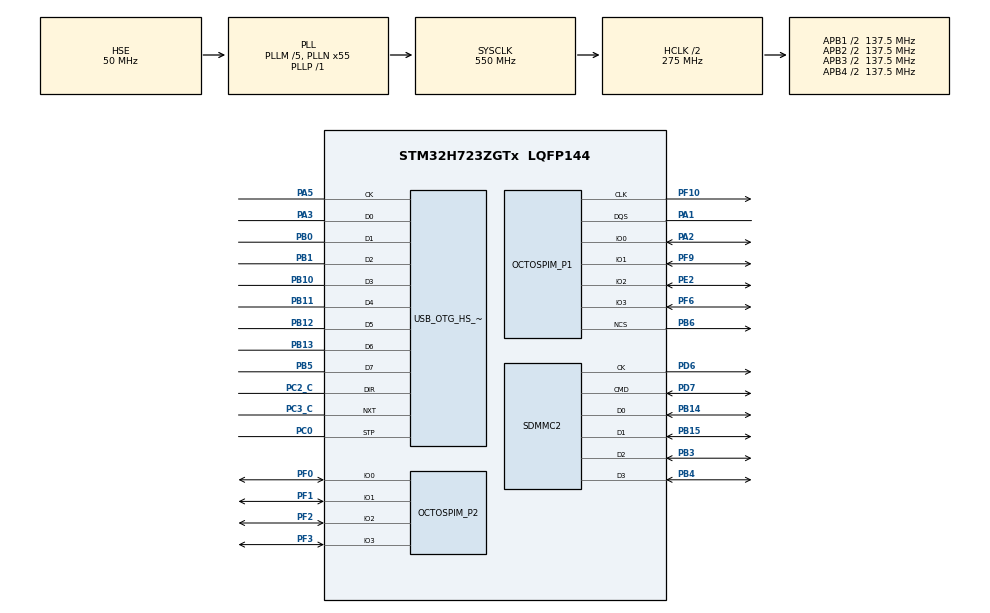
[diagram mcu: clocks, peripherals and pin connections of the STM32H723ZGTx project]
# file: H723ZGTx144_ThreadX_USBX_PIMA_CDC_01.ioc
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CORTEX_M7.AccessPermission_S-Cortex_Memory_Protection_Unit_Region1_Settings_S=MPU_REGION_FULL_ACCESS
CORTEX_M7.AccessPermission_S-Cortex_Memory_Protection_Unit_Region2_Settings_S=MPU_REGION_FULL_ACCESS
CORTEX_M7.AccessPermission_S-Cortex_Memory_Protection_Unit_Region3_Settings_S=MPU_REGION_FULL_ACCESS
CORTEX_M7.AccessPermission_S-Cortex_Memory_Protection_Unit_Region4_Settings_S=MPU_REGION_FULL_ACCESS
CORTEX_M7.AccessPermission_S-Cortex_Memory_Protection_Unit_Region5_Settings_S=MPU_REGION_FULL_ACCESS
CORTEX_M7.AccessPermission_Spec=MPU_REGION_FULL_ACCESS
CORTEX_M7.BaseAddress_S-Cortex_Memory_Protection_Unit_Region1_Settings_S=0x6000000
CORTEX_M7.BaseAddress_S-Cortex_Memory_Protection_Unit_Region2_Settings_S=0x30000000
CORTEX_M7.BaseAddress_S-Cortex_Memory_Protection_Unit_Region3_Settings_S=0x30004000
CORTEX_M7.BaseAddress_S-Cortex_Memory_Protection_Unit_Region4_Settings_S=0x90000000
CORTEX_M7.BaseAddress_S-Cortex_Memory_Protection_Unit_Region5_Settings_S=0x24010000
CORTEX_M7.BaseAddress_Spec=0x24000000
CORTEX_M7.CPU_DCache=Enabled
CORTEX_M7.CPU_ICache=Enabled
CORTEX_M7.DisableExec_S-Cortex_Memory_Protection_Unit_Region3_Settings_S=MPU_INSTRUCTION_ACCESS_ENABLE
CORTEX_M7.DisableExec_Spec=MPU_INSTRUCTION_ACCESS_ENABLE
CORTEX_M7.Enable_S-Cortex_Memory_Protection_Unit_Region1_Settings_S=MPU_REGION_ENABLE
CORTEX_M7.Enable_S-Cortex_Memory_Protection_Unit_Region2_Settings_S=MPU_REGION_ENABLE
CORTEX_M7.Enable_S-Cortex_Memory_Protection_Unit_Region3_Settings_S=MPU_REGION_ENABLE
CORTEX_M7.Enable_S-Cortex_Memory_Protection_Unit_Region4_Settings_S=MPU_REGION_ENABLE
CORTEX_M7.Enable_S-Cortex_Memory_Protection_Unit_Region5_Settings_S=MPU_REGION_ENABLE
CORTEX_M7.IsBufferable_S-Cortex_Memory_Protection_Unit_Region1_Settings_S=MPU_ACCESS_BUFFERABLE
CORTEX_M7.IsBufferable_S-Cortex_Memory_Protection_Unit_Region2_Settings_S=MPU_ACCESS_NOT_BUFFERABLE
CORTEX_M7.IsBufferable_S-Cortex_Memory_Protection_Unit_Region3_Settings_S=MPU_ACCESS_NOT_BUFFERABLE
CORTEX_M7.IsBufferable_S-Cortex_Memory_Protection_Unit_Region4_Settings_S=MPU_ACCESS_NOT_BUFFERABLE
CORTEX_M7.IsBufferable_Spec=MPU_ACCESS_BUFFERABLE
CORTEX_M7.IsCacheable_S-Cortex_Memory_Protection_Unit_Region2_Settings_S=MPU_ACCESS_NOT_CACHEABLE
CORTEX_M7.IsCacheable_S-Cortex_Memory_Protection_Unit_Region3_Settings_S=MPU_ACCESS_NOT_CACHEABLE
CORTEX_M7.IsCacheable_S-Cortex_Memory_Protection_Unit_Region4_Settings_S=MPU_ACCESS_NOT_CACHEABLE
CORTEX_M7.IsCacheable_Spec=MPU_ACCESS_CACHEABLE
CORTEX_M7.IsShareable_S-Cortex_Memory_Protection_Unit_Region4_Settings_S=MPU_ACCESS_NOT_SHAREABLE
CORTEX_M7.IsShareable_S-Cortex_Memory_Protection_Unit_Region5_Settings_S=MPU_ACCESS_NOT_SHAREABLE
CORTEX_M7.IsShareable_Spec=MPU_ACCESS_NOT_SHAREABLE
CORTEX_M7.Size_S-Cortex_Memory_Protection_Unit_Region1_Settings_S=MPU_REGION_SIZE_64KB
CORTEX_M7.Size_S-Cortex_Memory_Protection_Unit_Region2_Settings_S=MPU_REGION_SIZE_16KB
CORTEX_M7.Size_S-Cortex_Memory_Protection_Unit_Region3_Settings_S=MPU_REGION_SIZE_16KB
CORTEX_M7.Size_S-Cortex_Memory_Protection_Unit_Region4_Settings_S=MPU_REGION_SIZE_64MB
CORTEX_M7.Size_S-Cortex_Memory_Protection_Unit_Region5_Settings_S=MPU_REGION_SIZE_256KB
CORTEX_M7.Size_Spec=MPU_REGION_SIZE_64KB
CORTEX_M7.SubRegionDisable_S-Cortex_Memory_Protection_Unit_Region2_Settings_S=0x0
CORTEX_M7.SubRegionDisable_Spec=0
CORTEX_M7.TypeExtField_S-Cortex_Memory_Protection_Unit_Region2_Settings_S=MPU_TEX_LEVEL1
CORTEX_M7.TypeExtField_S-Cortex_Memory_Protection_Unit_Region3_Settings_S=MPU_TEX_LEVEL1
CORTEX_M7.TypeExtField_S-Cortex_Memory_Protection_Unit_Region4_Settings_S=MPU_TEX_LEVEL1
CORTEX_M7.TypeExtField_S-Cortex_Memory_Protection_Unit_Region5_Settings_S=MPU_TEX_LEVEL1
CORTEX_M7.TypeExtField_Spec=MPU_TEX_LEVEL1
CORTEX_M7.default_mode_Activation=1
Mcu.Family=STM32H7
Mcu.Name=STM32H723ZGTx
Mcu.Package=LQFP144
NVIC.OCTOSPI1_IRQn=true\:0\:0\:true\:false\:true\:false\:true\:true\:true
NVIC.OTG_HS_IRQn=true\:2\:0\:true\:false\:true\:false\:true\:true\:true
NVIC.PriorityGroup=NVIC_PRIORITYGROUP_4
NVIC.SDMMC2_IRQn=true\:5\:0\:true\:false\:true\:false\:true\:true\:true
NVIC.TIM4_IRQn=true\:15\:0\:true\:false\:true\:false\:false\:true\:true
NVIC.TimeBase=TIM4_IRQn
NVIC.TimeBaseIP=TIM4
OCTOSPI1.ChipSelectBoundary=11
OCTOSPI1.ChipSelectHighTime=2
OCTOSPI1.DelayBlockBypass=HAL_OSPI_DELAY_BLOCK_USED
OCTOSPI1.DelayHoldQuarterCycle=HAL_OSPI_DHQC_ENABLE
OCTOSPI1.DeviceSize=26
OCTOSPI1.FifoThreshold=4
OCTOSPI1.MemoryType=HAL_OSPI_MEMTYPE_APMEMORY
OCTOSPI1.Refresh=202
PA1.Mode=OCTOSPI1_Port1_DQS
PA1.Signal=OCTOSPIM_P1_DQS
PA13(JTMS/SWDIO).Mode=Serial_Wire
PA13(JTMS/SWDIO).Signal=DEBUG_JTMS-SWDIO
PA14(JTCK/SWCLK).Mode=Serial_Wire
PA14(JTCK/SWCLK).Signal=DEBUG_JTCK-SWCLK
PA2.Mode=OCTOSPI1_IOL_Port1L
PA2.Signal=OCTOSPIM_P1_IO0
PA3.Mode=Device_HS
PA3.Signal=USB_OTG_HS_ULPI_D0
PA5.Mode=Device_HS
PA5.Signal=USB_OTG_HS_ULPI_CK
PB0.Mode=Device_HS
PB0.Signal=USB_OTG_HS_ULPI_D1
PB1.Mode=Device_HS
PB1.Signal=USB_OTG_HS_ULPI_D2
PB10.Mode=Device_HS
PB10.Signal=USB_OTG_HS_ULPI_D3
PB11.Mode=Device_HS
PB11.Signal=USB_OTG_HS_ULPI_D4
PB12.Mode=Device_HS
PB12.Signal=USB_OTG_HS_ULPI_D5
PB13.Mode=Device_HS
PB13.Signal=USB_OTG_HS_ULPI_D6
PB14.Mode=SD_4_bits_Wide_bus
PB14.Signal=SDMMC2_D0
PB15.Mode=SD_4_bits_Wide_bus
PB15.Signal=SDMMC2_D1
PB3(JTDO/TRACESWO).Mode=SD_4_bits_Wide_bus
PB3(JTDO/TRACESWO).Signal=SDMMC2_D2
PB4(NJTRST).Mode=SD_4_bits_Wide_bus
PB4(NJTRST).Signal=SDMMC2_D3
PB5.Mode=Device_HS
PB5.Signal=USB_OTG_HS_ULPI_D7
PB6.Mode=OCTOSPI1_Port1_NCS
PB6.Signal=OCTOSPIM_P1_NCS
PC0.Mode=Device_HS
PC0.Signal=USB_OTG_HS_ULPI_STP
PC2_C.Mode=Device_HS
PC2_C.Signal=USB_OTG_HS_ULPI_DIR
PC3_C.Mode=Device_HS
PC3_C.Signal=USB_OTG_HS_ULPI_NXT
PD6.Mode=SD_4_bits_Wide_bus
PD6.Signal=SDMMC2_CK
PD7.Mode=SD_4_bits_Wide_bus
PD7.Signal=SDMMC2_CMD
PE2.Mode=OCTOSPI1_IOL_Port1L
PE2.Signal=OCTOSPIM_P1_IO2
PF0.Mode=OCTOSPI1_IOH_Port2L
PF0.Signal=OCTOSPIM_P2_IO0
PF1.Mode=OCTOSPI1_IOH_Port2L
PF1.Signal=OCTOSPIM_P2_IO1
PF10.Mode=O1_P1_CLK
PF10.Signal=OCTOSPIM_P1_CLK
PF2.Mode=OCTOSPI1_IOH_Port2L
PF2.Signal=OCTOSPIM_P2_IO2
PF3.Mode=OCTOSPI1_IOH_Port2L
PF3.Signal=OCTOSPIM_P2_IO3
PF6.Mode=OCTOSPI1_IOL_Port1L
PF6.Signal=OCTOSPIM_P1_IO3
PF9.Mode=OCTOSPI1_IOL_Port1L
PF9.Signal=OCTOSPIM_P1_IO1
PH0-OSC_IN.Mode=HSE-External-Clock-Source
PH0-OSC_IN.Signal=RCC_OSC_IN
ProjectManager.HeapSize=0x1000
ProjectManager.StackSize=0x4000
ProjectManager.TargetToolchain=STM32CubeIDE
RCC.ADCFreq_Value=170000000
RCC.APB1Freq_Value=137500000
RCC.APB2Freq_Value=137500000
RCC.APB3Freq_Value=137500000
RCC.APB4Freq_Value=137500000
RCC.CortexFreq_Value=550000000
RCC.D1PPRE=RCC_APB3_DIV2
RCC.D2PPRE1=RCC_APB1_DIV2
RCC.D2PPRE2=RCC_APB2_DIV2
RCC.D3PPRE=RCC_APB4_DIV2
RCC.DIVM1=5
RCC.DIVM2=5
RCC.DIVM3=25
RCC.DIVN1=55
RCC.DIVN2=34
RCC.DIVN3=96
RCC.DIVP1=1
RCC.DIVQ1=11
RCC.DIVQ3=4
RCC.DIVR2=4
RCC.HCLKFreq_Value=275000000
RCC.HPRE=RCC_HCLK_DIV2
RCC.HSE_VALUE=50000000
RCC.PLLSourceVirtual=RCC_PLLSOURCE_HSE
RCC.QSPICLockSelection=RCC_OSPICLKSOURCE_PLL2
RCC.RCC_TIM_PRescaler_Selection=RCC_TIMPRES_DESACTIVATED
RCC.SYSCLKFreq_VALUE=550000000
RCC.SYSCLKSource=RCC_SYSCLKSOURCE_PLLCLK
RCC.USBCLockSelection=RCC_USBCLKSOURCE_PLL3
RCC.USBFreq_Value=48000000
SDMMC2.ClockDiv=0
SDMMC2.HardwareFlowControl=SDMMC_HARDWARE_FLOW_CONTROL_ENABLE
STMicroelectronics.X-CUBE-AZRTOS-H7.3.4.0.ENABLE_CACHE_MAINTENANCE=true
STMicroelectronics.X-CUBE-AZRTOS-H7.3.4.0.FILEX_APPLICATION_THREAD_STACK_SIZE=4096
STMicroelectronics.X-CUBE-AZRTOS-H7.3.4.0.FX_APP_MEM_POOL_SIZE=1024*10
STMicroelectronics.X-CUBE-AZRTOS-H7.3.4.0.FX_DISABLE_ERROR_CHECKING=1
STMicroelectronics.X-CUBE-AZRTOS-H7.3.4.0.FX_DRIVER_SD_INIT=0
STMicroelectronics.X-CUBE-AZRTOS-H7.3.4.0.FX_ENABLE_EXFAT=1
STMicroelectronics.X-CUBE-AZRTOS-H7.3.4.0.FX_FAT_MAP_SIZE=1024
STMicroelectronics.X-CUBE-AZRTOS-H7.3.4.0.FX_SD_GLUE_FUNCTION_IMPLEMENTATION=HAL_DMA_API
STMicroelectronics.X-CUBE-AZRTOS-H7.3.4.0.FileXCcFileOoSystemJjFileXJjCore=true
STMicroelectronics.X-CUBE-AZRTOS-H7.3.4.0.InterfacesCcFileOoSystemJjFileXOoSDOointerface=true
STMicroelectronics.X-CUBE-AZRTOS-H7.3.4.0.MAX_FAT_CACHE_NB_BIT=10
STMicroelectronics.X-CUBE-AZRTOS-H7.3.4.0.MAX_POWER_IN_MILLI_AMPER=500
STMicroelectronics.X-CUBE-AZRTOS-H7.3.4.0.MAX_SECTOR_CACHE_NB_BIT=10
STMicroelectronics.X-CUBE-AZRTOS-H7.3.4.0.SD_INSTANCE=1
STMicroelectronics.X-CUBE-AZRTOS-H7.3.4.0.TX_APP_CREATION=1
STMicroelectronics.X-CUBE-AZRTOS-H7.3.4.0.TX_APP_GENERATE_INIT_CODE=true
STMicroelectronics.X-CUBE-AZRTOS-H7.3.4.0.TX_APP_MEM_POOL_SIZE=1024*10
STMicroelectronics.X-CUBE-AZRTOS-H7.3.4.0.TX_APP_STACK_SIZE=4096
STMicroelectronics.X-CUBE-AZRTOS-H7.3.4.0.TX_TIMER_THREAD_STACK_SIZE=2048
STMicroelectronics.X-CUBE-AZRTOS-H7.3.4.0.TX_TIMER_TICKS_PER_SECOND=1000
STMicroelectronics.X-CUBE-AZRTOS-H7.3.4.0.ThreadXCcRTOSJjThreadXJjCore=true
STMicroelectronics.X-CUBE-AZRTOS-H7.3.4.0.USBD_CDCACM_EPINCMD_ADDR=1
STMicroelectronics.X-CUBE-AZRTOS-H7.3.4.0.USBD_CDCACM_EPINCMD_FS_MPS=8
STMicroelectronics.X-CUBE-AZRTOS-H7.3.4.0.USBD_CDCACM_EPINCMD_HS_MPS=8
STMicroelectronics.X-CUBE-AZRTOS-H7.3.4.0.USBD_CDCACM_EPIN_ADDR=2
STMicroelectronics.X-CUBE-AZRTOS-H7.3.4.0.USBD_CDCACM_EPOUT_ADDR=2
STMicroelectronics.X-CUBE-AZRTOS-H7.3.4.0.USBD_PIMA_EP_IN_ADDR=3
STMicroelectronics.X-CUBE-AZRTOS-H7.3.4.0.USBD_PIMA_EP_IN_CMD_ADDR=4
STMicroelectronics.X-CUBE-AZRTOS-H7.3.4.0.USBD_PIMA_EP_OUT_ADDR=3
STMicroelectronics.X-CUBE-AZRTOS-H7.3.4.0.USBXCcUSBJjUSBXJjCoreSystem=true
STMicroelectronics.X-CUBE-AZRTOS-H7.3.4.0.USBXCcUSBJjUSBXJjUXOoDeviceOoClassOoCDCOoACM=true
STMicroelectronics.X-CUBE-AZRTOS-H7.3.4.0.USBXCcUSBJjUSBXJjUXOoDeviceOoClassOoPIMA=true
STMicroelectronics.X-CUBE-AZRTOS-H7.3.4.0.USBXCcUSBJjUSBXJjUXOoDeviceOoControllers=true
STMicroelectronics.X-CUBE-AZRTOS-H7.3.4.0.USBXCcUSBJjUSBXJjUXOoDeviceOoCoreStack=true
STMicroelectronics.X-CUBE-AZRTOS-H7.3.4.0.USBX_DEVICE_APP_THREAD_Size=4096
STMicroelectronics.X-CUBE-AZRTOS-H7.3.4.0.USBX_DEVICE_SYS_SIZE=1024*50
STMicroelectronics.X-CUBE-AZRTOS-H7.3.4.0.UX_ALIGN_MIN=UX_ALIGN_32
STMicroelectronics.X-CUBE-AZRTOS-H7.3.4.0.UX_DEBUG_LOG_SIZE=4096
STMicroelectronics.X-CUBE-AZRTOS-H7.3.4.0.UX_DEVICE_APP_MEM_POOL_SIZE=1024*100
STMicroelectronics.X-CUBE-AZRTOS-H7.3.4.0.UX_DEVICE_CLASS_CDC_ACM_TRANSMISSION_DISABLE=0
STMicroelectronics.X-CUBE-AZRTOS-H7.3.4.0.UX_MAX_SLAVE_CLASS_DRIVER=2
STMicroelectronics.X-CUBE-AZRTOS-H7.3.4.0.UX_PERIODIC_RATE=1000
STMicroelectronics.X-CUBE-AZRTOS-H7.3.4.0.UX_SLAVE_REQUEST_DATA_MAX_LENGTH=4096
STMicroelectronics.X-CUBE-AZRTOS-H7.3.4.0.UX_THREAD_STACK_SIZE=8192
STMicroelectronics.X-CUBE-AZRTOS-H7.3.4.0_IsAnAzureRtosMw=true
TIM7.AutoReloadPreload=TIM_AUTORELOAD_PRELOAD_ENABLE
TIM7.Period=50000-1
TIM7.Prescaler=135-1
USB_OTG_HS.VirtualMode-Device_HS=Device_HS
USB_OTG_HS.dma_enable-Device_HS=ENABLE
VP_MEMORYMAP_VS_MEMORYMAP.Mode=CurAppReg
VP_OCTOSPI1_VS_octo.Mode=octo_mode
VP_STMicroelectronics.X-CUBE-AZRTOS-H7_VS_FileOoSystemJjFileX_6.4.0_3.4.0.Mode=FileOoSystemJjFileX
VP_STMicroelectronics.X-CUBE-AZRTOS-H7_VS_FileOoSystemJjInterfaces_3.4.0_3.4.0.Mode=FileOoSystemJjInterfaces
VP_STMicroelectronics.X-CUBE-AZRTOS-H7_VS_RTOSJjThreadX_6.4.0_3.4.0.Mode=RTOSJjThreadX
VP_STMicroelectronics.X-CUBE-AZRTOS-H7_VS_USBJjUSBX_6.4.0_3.4.0.Mode=USBJjUSBX
VP_SYS_VS_tim4.Mode=TIM4
VP_TIM3_VS_ClockSourceINT.Mode=Internal
VP_TIM7_VS_ClockSourceINT.Mode=Enable_Timer
board=custom

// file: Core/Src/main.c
/* USER CODE BEGIN Header */
/**
  ******************************************************************************
  * @file           : main.c
  * @brief          : Main program body
  ******************************************************************************
  * @attention
  *
  * Copyright (c) 2025 STMicroelectronics.
  * All rights reserved.
  *
  * This software is licensed under terms that can be found in the LICENSE file
  * in the root directory of this software component.
  * If no LICENSE file comes with this software, it is provided AS-IS.
  *
  ******************************************************************************
  */
/* USER CODE END Header */
#include "app_threadx.h"
#include "main.h"
#include "octospi.h"
#include "sdmmc.h"
#include "tim.h"
#include "gpio.h"

/* USER CODE BEGIN Includes */
#include "aps512xx.h"
#include "dynamic_ram.h"
/* USER CODE END Includes */

/* USER CODE BEGIN PV */
__attribute__((section (".psram_nold"))) uint8_t OSPI_Array[1024];
uint8_t aTxBuffer[] = "& OCTOSPI/Quad-spi PSRAM Memory-mapped base on H723ZGTx144 v1.0$";

HAL_SD_CardInfoTypeDef                     USBD_SD_CardInfo;

// DTCM 前 0x400 空间用于存放从 FLASH 拷贝的中断向量表副本
__attribute__((section(".dtcmvtor_nold"), aligned(4))) uint8_t dtcm_isr_vector[1024];
/* USER CODE END PV */

void SystemClock_Config(void);
static void MPU_Config(void);
/* USER CODE BEGIN PFP */
static void Configure_APMemory(void);
/* USER CODE END PFP */

int main(void)
{

  /* USER CODE BEGIN 1 */
  UINT status;
  /* Operation interrupt vector table begin ----------------------------------*/
//#define INTERNAL_FLASH_BOOTLOADER_JUMP_TO_QSPI_FLASH_APP

#if defined(INTERNAL_FLASH_BOOTLOADER_JUMP_TO_QSPI_FLASH_APP)
	/*将当前内部闪存中使用的中断向量表更改为外部 QSPI 闪存中的中断向量表 */
	SCB->VTOR = (uint32_t *)QSPI_BASE;
#endif

#define COPY_VECTORTABLE_TO_DTCM

#if defined(COPY_VECTORTABLE_TO_DTCM)
#if defined(INTERNAL_FLASH_BOOTLOADER_JUMP_TO_QSPI_FLASH_APP)
	uint32_t *SouceAddr = (uint32_t *)QSPI_BASE;
#else
	uint32_t *SouceAddr = (uint32_t *)FLASH_BANK1_BASE;
#endif
	uint32_t *DestAddr = (uint32_t *)dtcm_isr_vector;

	/**
	 * memcpy 拷贝大小 0x400，即1KB，因为通过构建分析器查看 .isr_vector 大小为 716B，留有一定余量
	 * 此操作需要在链接文件中将 DTCM 从 0x200000000 偏移 1KB 开始 0x2000400;
	 */
	memcpy(DestAddr, SouceAddr, 0x400);

	/** 将当前中断向量表设置为从FLASH复制到DITCM中的副本 */
	SCB->VTOR = D1_DTCMRAM_BASE;
#endif

	__IO uint8_t *mem_addr;
	uint32_t address = 0;
	uint16_t index1;/*index1 counter of bytes used when reading/
	writing 256 bytes buffer */
	uint16_t index2;/*index2 counter of 256 bytes buffer used when reading/
	writing the 1Mbytes extended buffer */
  /* Operation interrupt vector table end ------------------------------------*/
  /* USER CODE END 1 */

  /* MPU Configuration--------------------------------------------------------*/
  MPU_Config();

  /* Enable the CPU Cache */

  /* Enable I-Cache---------------------------------------------------------*/
  SCB_EnableICache();

  /* Enable D-Cache---------------------------------------------------------*/
  SCB_EnableDCache();

  /* MCU Configuration--------------------------------------------------------*/

  /* Reset of all peripherals, Initializes the Flash interface and the Systick. */
  HAL_Init();

  /* Configure the system clock */
  SystemClock_Config();

  /* Initialize all configured peripherals */
  MX_GPIO_Init();
  MX_TIM3_Init();
  MX_TIM7_Init();
  MX_OCTOSPI1_Init();
  MX_SDMMC2_SD_Init();
  /* USER CODE BEGIN 2 */

  Configure_APMemory();

	if (APS512XX_EnableMemoryMappedMode(&hospi1, 8, 4, 0U) != HAL_OK) // 线性突发模式，执行跨边界，解决2K后地址回卷（Wrap）
	//	if (APS512XX_EnableMemoryMappedMode(&hospi1, 8, 4, APS512XX_WRITE_CMD) != HAL_OK)
	{
		_Error_Handler(__FILE__, __LINE__);
	}
	// H723ZGTx144：测试：OCTOSPI_CLK=90MHz DTR MODE 1MB 误码率 0，若提高到100MHz误码率飙升
	int led = 0;
    uint64_t cnt_charW = 0;
	/*Writing 1Mbyte (256Byte BUFFERSIZE x 4096 times) */
	mem_addr = (__IO uint8_t *)(OCTOSPI1_BASE + address);
	for (index2 = 0; index2 < EXTENDEDBUFFERSIZE/BUFFERSIZE; index2++) {
		for (index1 = 0; index1 < BUFFERSIZE; index1++) {
			*mem_addr = aTxBuffer[index1];
			mem_addr++;
			cnt_charW++;
		}
	}

	/*Writing 1Mbyte (256Byte BUFFERSIZE x 4096 times) */
	uint64_t cnt_charR = 0;
    mem_addr = (__IO uint8_t *)(OCTOSPI1_BASE + address);
    for (index2 = 0; index2 < EXTENDEDBUFFERSIZE/BUFFERSIZE; index2++) {
		for (index1 = 0; index1 < BUFFERSIZE; index1++) {
			if (*mem_addr != aTxBuffer[index1]) {
				led++;
			}
			mem_addr++;
			cnt_charR++;
		}
    }
	uint8_t* p = OSPI_Array;
	p++;
	p--;

  /* Check if SD card is present */
  //if(HAL_GPIO_ReadPin(GPIOG, GPIO_PIN_12) == GPIO_PIN_SET) { Error_Handler(); }
  /* Get SD card info 存到 hsd2 里
   * 供后续 USBD_STORAGE_GetMediaLastLba() 和 USBD_STORAGE_GetMediaBlocklength() 获取信息
   */
  status = HAL_SD_GetCardInfo(&hsd2, &USBD_SD_CardInfo);

  if (status != HAL_OK)
  {
    Error_Handler();
  }

  /* USER CODE END 2 */

  MX_ThreadX_Init();

  /* We should never get here as control is now taken by the scheduler */

  /* Infinite loop */
  while (1)
  {

  }
}

void SystemClock_Config(void)
{
  RCC_OscInitTypeDef RCC_OscInitStruct = {0};
  RCC_ClkInitTypeDef RCC_ClkInitStruct = {0};

  /** Supply configuration update enable
  */
  HAL_PWREx_ConfigSupply(PWR_LDO_SUPPLY);

  /** Configure the main internal regulator output voltage
  */
  __HAL_PWR_VOLTAGESCALING_CONFIG(PWR_REGULATOR_VOLTAGE_SCALE0);

  while(!__HAL_PWR_GET_FLAG(PWR_FLAG_VOSRDY)) {}

  /** Initializes the RCC Oscillators according to the specified parameters
  * in the RCC_OscInitTypeDef structure.
  */
  RCC_OscInitStruct.OscillatorType = RCC_OSCILLATORTYPE_HSE;
  RCC_OscInitStruct.HSEState = RCC_HSE_BYPASS;
  RCC_OscInitStruct.PLL.PLLState = RCC_PLL_ON;
  RCC_OscInitStruct.PLL.PLLSource = RCC_PLLSOURCE_HSE;
  RCC_OscInitStruct.PLL.PLLM = 5;
  RCC_OscInitStruct.PLL.PLLN = 55;
  RCC_OscInitStruct.PLL.PLLP = 1;
  RCC_OscInitStruct.PLL.PLLQ = 11;
  RCC_OscInitStruct.PLL.PLLR = 2;
  RCC_OscInitStruct.PLL.PLLRGE = RCC_PLL1VCIRANGE_3;
  RCC_OscInitStruct.PLL.PLLVCOSEL = RCC_PLL1VCOWIDE;
  RCC_OscInitStruct.PLL.PLLFRACN = 0;
  if (HAL_RCC_OscConfig(&RCC_OscInitStruct) != HAL_OK)
  {
    Error_Handler();
  }

  /** Initializes the CPU, AHB and APB buses clocks
  */
  RCC_ClkInitStruct.ClockType = RCC_CLOCKTYPE_HCLK|RCC_CLOCKTYPE_SYSCLK
                              |RCC_CLOCKTYPE_PCLK1|RCC_CLOCKTYPE_PCLK2
                              |RCC_CLOCKTYPE_D3PCLK1|RCC_CLOCKTYPE_D1PCLK1;
  RCC_ClkInitStruct.SYSCLKSource = RCC_SYSCLKSOURCE_PLLCLK;
  RCC_ClkInitStruct.SYSCLKDivider = RCC_SYSCLK_DIV1;
  RCC_ClkInitStruct.AHBCLKDivider = RCC_HCLK_DIV2;
  RCC_ClkInitStruct.APB3CLKDivider = RCC_APB3_DIV2;
  RCC_ClkInitStruct.APB1CLKDivider = RCC_APB1_DIV2;
  RCC_ClkInitStruct.APB2CLKDivider = RCC_APB2_DIV2;
  RCC_ClkInitStruct.APB4CLKDivider = RCC_APB4_DIV2;

  if (HAL_RCC_ClockConfig(&RCC_ClkInitStruct, FLASH_LATENCY_3) != HAL_OK)
  {
    Error_Handler();
  }
}

/* USER CODE BEGIN 4 */
void _Error_Handler(const char * file, uint32_t line)
{
  /* USER CODE BEGIN Error_Handler_Debug */
  /* User can add his own implementation to report the HAL error return state */
  __disable_irq();
  while (1)
  {
  }
  /* USER CODE END Error_Handler_Debug */
}

/**
* @brief  Switch from Octal Mode to Hexa Mode on the memory
* @param  None
* @retval None
*/
uint8_t aps_ID[2] = {0, 0};
static void Configure_APMemory(void)
{
	/* MR0 register for read and write
	                                     MR8[7:0] = 0x24  =  B00100100
			   N/A                       MR0[7:6] = 00  --> constraint value
			   Read Latency Type         MR0[5]   = 1   --> LT               : Fixed ---> FL Codes
			   Read Latency Code         MR0[4:2] = 001 --> FL Codes (MR0[5]=1) Latency (LCx2) = 8
			   Drive Strength Codes      MR0[1:0] = 00  --> Drive StrengthFull  (25Ω default)
	*/
	uint8_t regW_MR0[2] = {0x24, 0x8D}; //!< To configure AP memory Latency Type and drive Strength
	uint8_t regR_MR0[2] = {0};
	/* MR8 register for read and write
	                                     MR8[7:0] = 0x0B  =  B00001011
       IO X8/X16 Mode                    MR8[6]   = 0    --> X8 Mode
       Row Boundary Crossing Read Enable MR8[3]   = 1    --> Allow reads cross page (row) boundary
       Burst Type                        MR8[2]   = 0    -->
       Burst Length                      MR8[1:0] = 11   --> 2K Byte/1K Word Wrap，对应 “2K Byte Wrap 突发模式”（地址超过 2K 会回卷）
	 */
	uint8_t regW_MR8[2] = {0x0B, 0x08};  //!< To configure AP memory Burst Type
	uint8_t regR_MR8[2] = {0};

	//复位所有寄存器配置
	if(APS512XX_Reset(&hospi1) != HAL_OK)
	{
	_Error_Handler(__FILE__, __LINE__);
	}
#if 1
	/*Configure Read Latency and drive Strength */
	if (APS512XX_WriteReg(&hospi1, APS512XX_MR0_ADDRESS, regW_MR0) != HAL_OK)
	{
		_Error_Handler(__FILE__, __LINE__);
	}

	/* Check MR0 configuration */
	if (APS512XX_ReadReg(&hospi1, APS512XX_MR0_ADDRESS, regR_MR0, 5) != HAL_OK)
	{
		_Error_Handler(__FILE__, __LINE__);
	}

	/* Check MR0 configuration */
	if (regR_MR0[0] != regW_MR0[0])
	{
		_Error_Handler(__FILE__, __LINE__);
	}
#endif
	/* Configure Burst Length */
	if (APS512XX_WriteReg(&hospi1, APS512XX_MR8_ADDRESS, regW_MR8) != HAL_OK)
	{
		_Error_Handler(__FILE__, __LINE__);
	}

	/* Check MR8 configuration */
	if (APS512XX_ReadReg(&hospi1, APS512XX_MR8_ADDRESS, regR_MR8, 5) != HAL_OK)
	{
		_Error_Handler(__FILE__, __LINE__);
	}

	if (regR_MR8[0] != regW_MR8[0])
	{
		_Error_Handler(__FILE__, __LINE__);
	}

	if(0){
		__NOP();
	}
}

/* USER CODE END 4 */

 /* MPU Configuration */

void MPU_Config(void)
{
  MPU_Region_InitTypeDef MPU_InitStruct = {0};

  /* Disables the MPU */
  HAL_MPU_Disable();

  /** Initializes and configures the Region and the memory to be protected
  */
  MPU_InitStruct.Enable = MPU_REGION_ENABLE;
  MPU_InitStruct.Number = MPU_REGION_NUMBER0;
  MPU_InitStruct.BaseAddress = 0x24000000;
  MPU_InitStruct.Size = MPU_REGION_SIZE_64KB;
  MPU_InitStruct.SubRegionDisable = 0;
  MPU_InitStruct.TypeExtField = MPU_TEX_LEVEL1;
  MPU_InitStruct.AccessPermission = MPU_REGION_FULL_ACCESS;
  MPU_InitStruct.DisableExec = MPU_INSTRUCTION_ACCESS_ENABLE;
  MPU_InitStruct.IsShareable = MPU_ACCESS_NOT_SHAREABLE;
  MPU_InitStruct.IsCacheable = MPU_ACCESS_CACHEABLE;
  MPU_InitStruct.IsBufferable = MPU_ACCESS_BUFFERABLE;

  HAL_MPU_ConfigRegion(&MPU_InitStruct);

  /** Initializes and configures the Region and the memory to be protected
  */
  MPU_InitStruct.Number = MPU_REGION_NUMBER1;
  MPU_InitStruct.BaseAddress = 0x6000000;
  MPU_InitStruct.SubRegionDisable = 0x0;
  MPU_InitStruct.TypeExtField = MPU_TEX_LEVEL0;
  MPU_InitStruct.IsCacheable = MPU_ACCESS_NOT_CACHEABLE;

  HAL_MPU_ConfigRegion(&MPU_InitStruct);

  /** Initializes and configures the Region and the memory to be protected
  */
  MPU_InitStruct.Number = MPU_REGION_NUMBER2;
  MPU_InitStruct.BaseAddress = 0x30000000;
  MPU_InitStruct.Size = MPU_REGION_SIZE_16KB;
  MPU_InitStruct.TypeExtField = MPU_TEX_LEVEL1;
  MPU_InitStruct.IsBufferable = MPU_ACCESS_NOT_BUFFERABLE;

  HAL_MPU_ConfigRegion(&MPU_InitStruct);

  /** Initializes and configures the Region and the memory to be protected
  */
  MPU_InitStruct.Number = MPU_REGION_NUMBER3;
  MPU_InitStruct.BaseAddress = 0x30004000;

  HAL_MPU_ConfigRegion(&MPU_InitStruct);

  /** Initializes and configures the Region and the memory to be protected
  */
  MPU_InitStruct.Number = MPU_REGION_NUMBER4;
  MPU_InitStruct.BaseAddress = 0x90000000;
  MPU_InitStruct.Size = MPU_REGION_SIZE_64MB;

  HAL_MPU_ConfigRegion(&MPU_InitStruct);

  /** Initializes and configures the Region and the memory to be protected
  */
  MPU_InitStruct.Number = MPU_REGION_NUMBER5;
  MPU_InitStruct.BaseAddress = 0x24010000;
  MPU_InitStruct.Size = MPU_REGION_SIZE_256KB;

  HAL_MPU_ConfigRegion(&MPU_InitStruct);
  /* Enables the MPU */
  HAL_MPU_Enable(MPU_PRIVILEGED_DEFAULT);

}

void HAL_TIM_PeriodElapsedCallback(TIM_HandleTypeDef *htim)
{
  if (htim->Instance == TIM4)
  {
    HAL_IncTick();
  }
}

void Error_Handler(void)
{
  __disable_irq();
  while (1)
  {
  }
}
